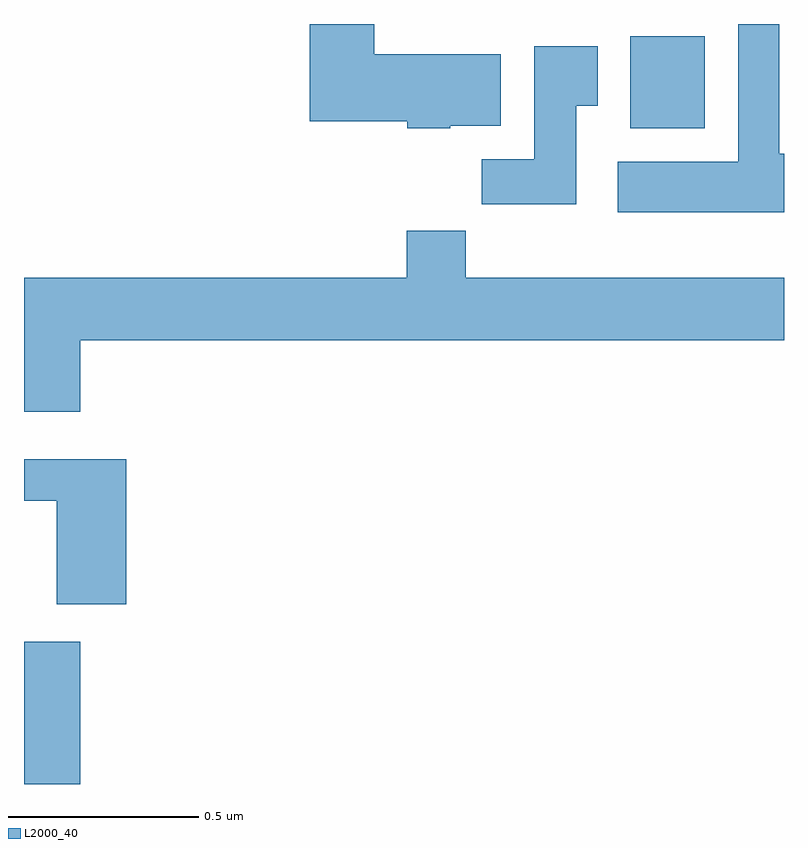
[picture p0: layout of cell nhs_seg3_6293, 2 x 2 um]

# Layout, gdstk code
import gdstk
lib = gdstk.Library(unit=1e-6, precision=1e-09)
def R(c, l, rs):  # rectangles x0, y0, x1, y1
    for r in rs: c.add(gdstk.rectangle(r[:2], r[2:], *l))
def P(c, l, *ps):  # polygons
    for p in ps: c.add(gdstk.Polygon(p, *l))
L2000_40 = (2000, 40)

nhs_seg3_6293 = lib.new_cell('nhs_seg3_6293')
R(nhs_seg3_6293, L2000_40, [(189,714.4,189.148,714.775), (190.595,716.126,190.792,716.368)])
P(nhs_seg3_6293, L2000_40, [(190.122,716.132),(190.255,716.132),(190.255,716.32),(189.922,716.32),(189.922,716.4),(189.752,716.4),(189.752,716.144),(190.008,716.144),(190.008,716.126),(190.122,716.126)],
  [(191,716.058),(190.987,716.058),(190.987,716.4),(190.88,716.4),(190.88,716.038),(190.563,716.038),(190.563,715.904),(191,715.904)],
  [(190.453,716.185),(190.51,716.185),(190.51,716.341),(190.343,716.341),(190.343,716.044),(190.204,716.044),(190.204,715.926),(190.453,715.926)],
  [(189.148,715.568),(191,715.568),(191,715.732),(190.163,715.732),(190.163,715.856),(190.007,715.856),(190.007,715.732),(189,715.732),(189,715.38),(189.148,715.38)],
  [(189.269,715.254),(189,715.254),(189,715.146),(189.086,715.146),(189.086,714.873),(189.269,714.873)])

lib.write_gds('nhs_seg3_6293.gds')
